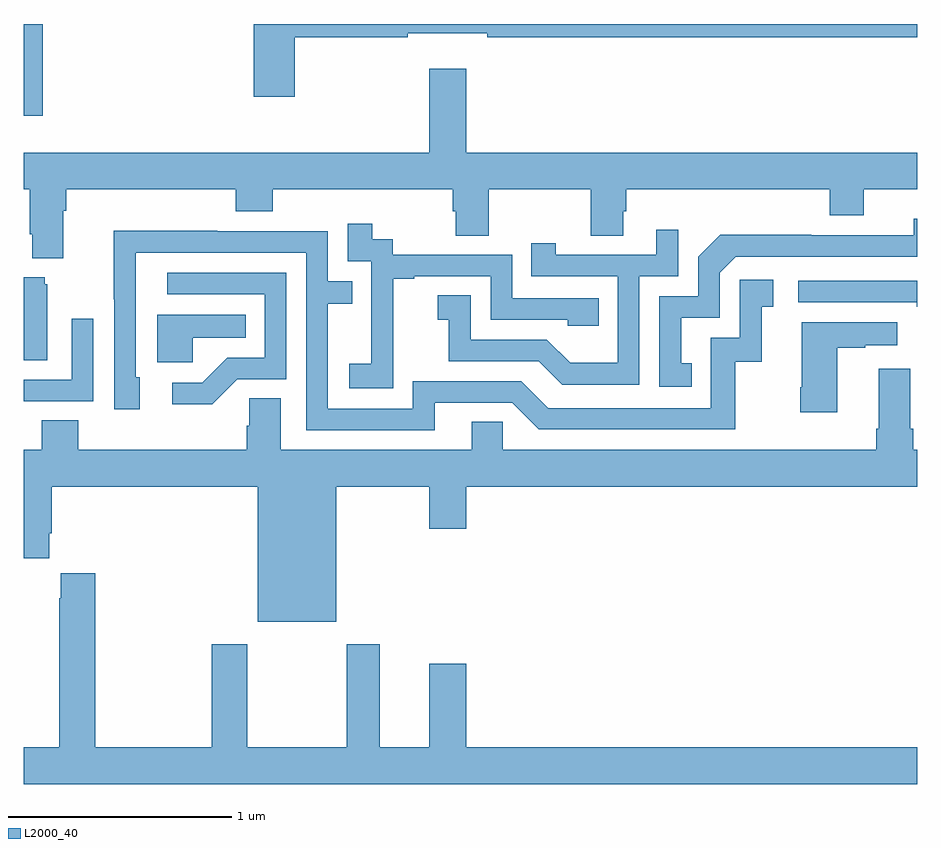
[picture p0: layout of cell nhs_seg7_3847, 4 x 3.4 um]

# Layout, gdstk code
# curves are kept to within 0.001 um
import gdstk
lib = gdstk.Library(unit=1e-6, precision=1e-09)
def R(c, l, rs):  # rectangles x0, y0, x1, y1
    for r in rs: c.add(gdstk.rectangle(r[:2], r[2:], *l))
def P(c, l, *ps):  # polygons
    for p in ps: c.add(gdstk.Polygon(p, *l))
L2000_40 = (2000, 40)

nhs_seg7_3847 = lib.new_cell('nhs_seg7_3847')
R(nhs_seg7_3847, L2000_40, [(355,1023.588,355.085,1024)])
P(nhs_seg7_3847, L2000_40, [(356.213,1023.94),(356.72,1023.94),(356.72,1023.959),(357.076,1023.959),(357.076,1023.94),(359,1023.94),(359,1024),(356.03,1024),(356.03,1023.675),(356.213,1023.675)],
  [(355.177,1023.164),(355.19,1023.164),(355.19,1023.26),(355.949,1023.26),(355.949,1023.161),(356.114,1023.161),(356.114,1023.26),(356.921,1023.26),(356.921,1023.162),(356.933,1023.162),(356.933,1023.052),(357.081,1023.052),(357.081,1023.26),(357.538,1023.26),(357.538,1023.052),(357.685,1023.052),(357.685,1023.162),(357.698,1023.162),(357.698,1023.26),(358.61,1023.26),(358.61,1023.143),(358.762,1023.143),(358.762,1023.26),(359,1023.26),(359,1023.424),(356.98,1023.424),(356.98,1023.799),(356.816,1023.799),(356.816,1023.424),(355,1023.424),(355,1023.26),(355.025,1023.26),(355.025,1023.058),(355.037,1023.058),(355.037,1022.951),(355.177,1022.951)],
  [(357.992,1022.481),(357.943,1022.481),(357.943,1022.685),(358.116,1022.685),(358.116,1022.886),(358.188,1022.958),(359,1022.958),(359,1023.127),(358.986,1023.127),(358.986,1023.054),(358.526,1023.054),(358.526,1023.056),(358.118,1023.056),(358.02,1022.958),(358.02,1022.781),(357.846,1022.781),(357.846,1022.376),(357.992,1022.376)],
  [(356.655,1022.575),(356.654,1022.575),(356.654,1022.859),(356.749,1022.859),(356.749,1022.871),(357.09,1022.871),(357.09,1022.676),(357.435,1022.676),(357.435,1022.649),(357.575,1022.649),(357.575,1022.772),(357.186,1022.772),(357.186,1022.967),(356.652,1022.967),(356.652,1023.036),(356.56,1023.036),(356.56,1023.106),(356.451,1023.106),(356.451,1022.937),(356.556,1022.937),(356.556,1022.708),(356.555,1022.708),(356.555,1022.479),(356.457,1022.479),(356.457,1022.369),(356.655,1022.369)],
  [(357.756,1022.871),(357.93,1022.871),(357.93,1023.079),(357.833,1023.079),(357.833,1022.967),(357.382,1022.967),(357.382,1023.019),(357.271,1023.019),(357.271,1022.871),(357.66,1022.871),(357.66,1022.482),(357.446,1022.482),(357.342,1022.586),(357,1022.586),(357,1022.785),(356.853,1022.785),(356.853,1022.675),(356.902,1022.675),(356.902,1022.49),(357.305,1022.49),(357.41,1022.385),(357.756,1022.385)],
  [(356.839,1022.304),(357.186,1022.304),(357.306,1022.184),(358.186,1022.184),(358.186,1022.487),(358.304,1022.487),(358.304,1022.733),(358.357,1022.733),(358.357,1022.854),(358.206,1022.854),(358.206,1022.595),(358.077,1022.595),(358.077,1022.28),(357.348,1022.28),(357.228,1022.4),(356.742,1022.4),(356.742,1022.277),(356.361,1022.277),(356.361,1022.746),(356.471,1022.746),(356.471,1022.847),(356.361,1022.847),(356.361,1023.072),(355.865,1023.072),(355.865,1023.074),(355.402,1023.074),(355.402,1022.767),(355.404,1022.767),(355.404,1022.274),(355.519,1022.274),(355.519,1022.418),(355.5,1022.418),(355.501,1022.976),(356.265,1022.976),(356.265,1022.181),(356.839,1022.181)],
  [(355.956,1022.409),(356.175,1022.409),(356.175,1022.886),(355.641,1022.886),(355.641,1022.79),(356.079,1022.79),(356.079,1022.505),(355.91,1022.505),(355.799,1022.394),(355.665,1022.394),(355.665,1022.297),(355.843,1022.297)],
  [(355.105,1022.835),(355.094,1022.835),(355.094,1022.866),(355,1022.866),(355,1022.495),(355.105,1022.495)],
  [(359,1022.85),(358.467,1022.85),(358.467,1022.754),(358.999,1022.754),(358.999,1022.734),(359,1022.734)],
  [(355.755,1022.594),(355.994,1022.594),(355.994,1022.698),(355.598,1022.698),(355.598,1022.486),(355.755,1022.486)],
  [(355.311,1022.68),(355.215,1022.68),(355.215,1022.406),(355,1022.406),(355,1022.31),(355.311,1022.31)],
  [(358.642,1022.551),(358.769,1022.551),(358.769,1022.561),(358.912,1022.561),(358.912,1022.665),(358.484,1022.665),(358.484,1022.374),(358.477,1022.374),(358.477,1022.262),(358.642,1022.262)],
  [(356.398,1021.928),(356.816,1021.928),(356.816,1021.74),(356.98,1021.74),(356.98,1021.928),(359,1021.928),(359,1022.092),(358.982,1022.092),(358.982,1022.188),(358.969,1022.188),(358.969,1022.455),(358.829,1022.455),(358.829,1022.188),(358.817,1022.188),(358.817,1022.092),(357.144,1022.092),(357.144,1022.219),(357.005,1022.219),(357.005,1022.092),(356.149,1022.092),(356.149,1022.324),(356.01,1022.324),(356.01,1022.201),(355.997,1022.201),(355.997,1022.092),(355.244,1022.092),(355.244,1022.225),(355.079,1022.225),(355.079,1022.092),(355,1022.092),(355,1021.608),(355.114,1021.608),(355.114,1021.72),(355.124,1021.72),(355.124,1021.928),(356.048,1021.928),(356.048,1021.322),(356.398,1021.322)],
  [(359,1020.76),(356.98,1020.76),(356.98,1021.135),(356.816,1021.135),(356.816,1020.76),(356.593,1020.76),(356.593,1021.222),(356.446,1021.222),(356.446,1020.76),(356.001,1020.76),(356.001,1021.222),(355.841,1021.222),(355.841,1020.76),(355.319,1020.76),(355.319,1021.54),(355.165,1021.54),(355.165,1021.427),(355.159,1021.427),(355.159,1020.76),(355,1020.76),(355,1020.596),(359,1020.596)])

lib.write_gds('nhs_seg7_3847.gds')
